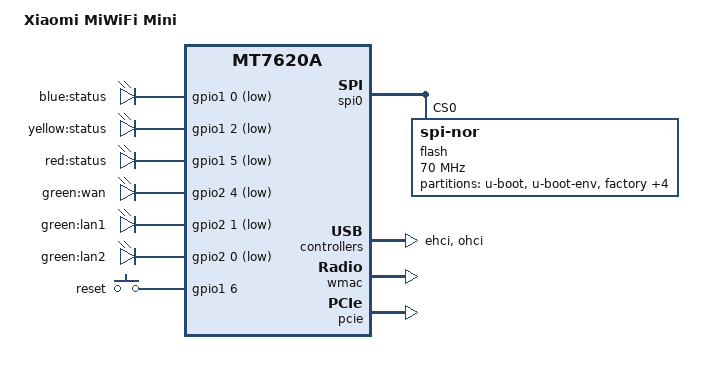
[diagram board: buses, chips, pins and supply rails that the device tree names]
#include "mt7620a.dtsi"

#include <dt-bindings/gpio/gpio.h>
#include <dt-bindings/input/input.h>

/ {
	compatible = "xiaomi,miwifi-mini", "ralink,mt7620a-soc";
	model = "Xiaomi MiWiFi Mini";

	aliases {
		led-boot = &led_blue;
		led-failsafe = &led_blue;
		led-running = &led_blue;
		led-upgrade = &led_blue;
		label-mac-device = &ethernet;
	};

	chosen {
		bootargs = "console=ttyS0,115200";
	};

	leds {
		compatible = "gpio-leds";

		led_blue: blue {
			label = "blue:status";
			gpios = <&gpio1 0 GPIO_ACTIVE_LOW>;
			default-state = "on";
		};

		yellow {
			label = "yellow:status";
			gpios = <&gpio1 2 GPIO_ACTIVE_LOW>;
		};

		red {
			label = "red:status";
			gpios = <&gpio1 5 GPIO_ACTIVE_LOW>;
		};

		wan {
			label = "green:wan";
			gpios = <&gpio2 4 GPIO_ACTIVE_LOW>;
		};

		lan1 {
			label = "green:lan1";
			gpios = <&gpio2 1 GPIO_ACTIVE_LOW>;
		};

		lan2 {
			label = "green:lan2";
			gpios = <&gpio2 0 GPIO_ACTIVE_LOW>;
		};
	};

	keys {
		compatible = "gpio-keys";

		reset {
			label = "reset";
			gpios = <&gpio1 6 GPIO_ACTIVE_HIGH>;
			linux,code = <KEY_RESTART>;
		};
	};
};

&gpio1 {
	status = "okay";
};

&gpio2 {
	status = "okay";
};

&spi0 {
	status = "okay";

	flash@0 {
		compatible = "jedec,spi-nor";
		reg = <0>;
		spi-max-frequency = <70000000>;
		m25p,fast-read;

		partitions {
			compatible = "fixed-partitions";
			#address-cells = <1>;
			#size-cells = <1>;

			partition@0 {
				label = "u-boot";
				reg = <0x0 0x30000>;
				read-only;
			};

			partition@30000 {
				label = "u-boot-env";
				reg = <0x30000 0x10000>;
			};

			factory: partition@40000 {
				label = "factory";
				reg = <0x40000 0x10000>;
				read-only;
			};

			partition@50000 {
				compatible = "denx,uimage";
				label = "firmware";
				reg = <0x50000 0xf80000>;
			};

			partition@fd0000 {
				label = "crash";
				reg = <0xfd0000 0x10000>;
			};

			partition@fe0000 {
				label = "reserved";
				reg = <0xfe0000 0x10000>;
				read-only;
			};

			partition@ff0000 {
				label = "Bdata";
				reg = <0xff0000 0x10000>;
			};
		};
	};
};

&ehci {
	status = "okay";
};

&ohci {
	status = "okay";
};

&ethernet {
	nvmem-cells = <&macaddr_factory_28>;
	nvmem-cell-names = "mac-address";

	mediatek,portmap = "llllw";
};

&wmac {
	ralink,mtd-eeprom = <&factory 0x0>;
	pinctrl-names = "default";
	pinctrl-0 = <&pa_pins>;
};

&pcie {
	status = "okay";
};

&pcie0 {
	mt76@0,0 {
		reg = <0x0000 0 0 0 0>;
		mediatek,mtd-eeprom = <&factory 0x8000>;
		ieee80211-freq-limit = <5000000 6000000>;
	};
};

&state_default {
	gpio {
		groups = "ephy", "i2c", "rgmii1";
		function = "gpio";
	};
};

&factory {
	compatible = "nvmem-cells";
	#address-cells = <1>;
	#size-cells = <1>;

	macaddr_factory_28: macaddr@28 {
		reg = <0x28 0x6>;
	};
};
